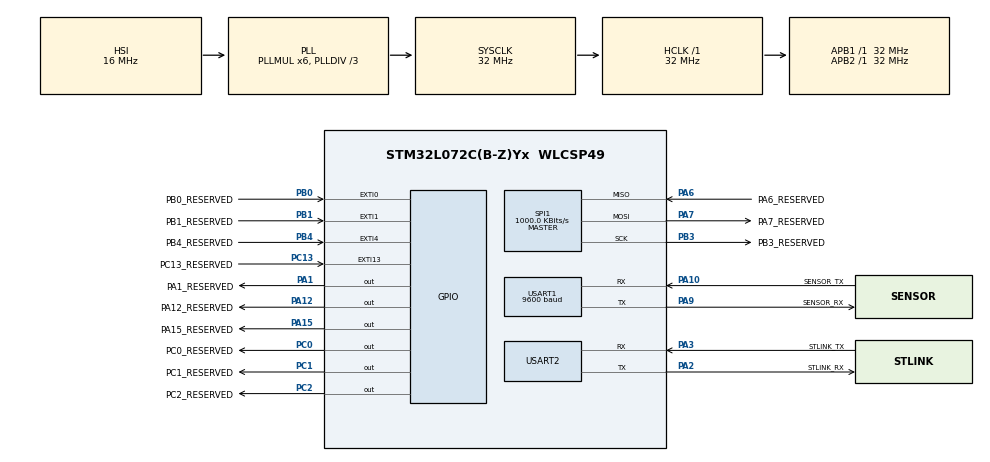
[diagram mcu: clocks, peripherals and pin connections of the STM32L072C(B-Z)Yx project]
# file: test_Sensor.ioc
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Mcu.Family=STM32L0
Mcu.Name=STM32L072C(B-Z)Yx
Mcu.Package=WLCSP49
NVIC.EXTI0_1_IRQn=true\:0\:0\:false\:false\:true\:true\:true
NVIC.EXTI4_15_IRQn=true\:0\:0\:false\:false\:true\:true\:true
NVIC.RTC_IRQn=true\:0\:0\:false\:false\:true\:true\:true
NVIC.USART1_IRQn=true\:0\:0\:true\:false\:true\:true\:true
NVIC.USART2_IRQn=true\:0\:0\:false\:false\:true\:true\:true
PA1.GPIO_Label=PA1_RESERVED
PA1.GPIO_Speed=GPIO_SPEED_FREQ_HIGH
PA1.PinState=GPIO_PIN_RESET
PA1.Signal=GPIO_Output
PA10.GPIO_Label=SENSOR_TX
PA10.Mode=Asynchronous
PA10.Signal=USART1_RX
PA12.GPIO_Label=PA12_RESERVED
PA12.GPIO_Speed=GPIO_SPEED_FREQ_HIGH
PA12.Signal=GPIO_Output
PA15.GPIO_Label=PA15_RESERVED
PA15.GPIO_Speed=GPIO_SPEED_FREQ_HIGH
PA15.Signal=GPIO_Output
PA2.GPIO_Label=STLINK_RX
PA2.Mode=Asynchronous
PA2.Signal=USART2_TX
PA3.GPIO_Label=STLINK_TX
PA3.Mode=Asynchronous
PA3.Signal=USART2_RX
PA6.GPIO_Label=PA6_RESERVED
PA6.Mode=Full_Duplex_Master
PA6.Signal=SPI1_MISO
PA7.GPIO_Label=PA7_RESERVED
PA7.Mode=Full_Duplex_Master
PA7.Signal=SPI1_MOSI
PA9.GPIO_Label=SENSOR_RX
PA9.Mode=Asynchronous
PA9.Signal=USART1_TX
PB0.GPIO_Label=PB0_RESERVED
PB0.Signal=GPXTI0
PB1.GPIO_Label=PB1_RESERVED
PB1.Signal=GPXTI1
PB3.GPIO_Label=PB3_RESERVED
PB3.Mode=Full_Duplex_Master
PB3.Signal=SPI1_SCK
PB4.GPIO_Label=PB4_RESERVED
PB4.Signal=GPXTI4
PC0.GPIO_Label=PC0_RESERVED
PC0.GPIO_Speed=GPIO_SPEED_FREQ_HIGH
PC0.Signal=GPIO_Output
PC1.GPIO_Label=PC1_RESERVED
PC1.GPIO_Speed=GPIO_SPEED_FREQ_HIGH
PC1.Signal=GPIO_Output
PC13.GPIO_Label=PC13_RESERVED
PC13.Signal=GPXTI13
PC2.GPIO_Label=PC2_RESERVED
PC2.GPIO_Speed=GPIO_SPEED_FREQ_HIGH
PC2.Signal=GPIO_Output
PH0-OSC_IN.Signal=RCC_OSC_IN
PH1-OSC_OUT.Signal=RCC_OSC_OUT
ProjectManager.HeapSize=0x200
ProjectManager.StackSize=0x400
ProjectManager.TargetToolchain=STM32CubeIDE
RCC.AHBFreq_Value=32000000
RCC.APB1Freq_Value=32000000
RCC.APB1TimFreq_Value=32000000
RCC.APB2Freq_Value=32000000
RCC.APB2TimFreq_Value=32000000
RCC.HCLKFreq_Value=32000000
RCC.HSE_VALUE=8000000
RCC.HSI16_VALUE=16000000
RCC.HSI48_VALUE=48000000
RCC.HSI_VALUE=16000000
RCC.LSE_VALUE=32768
RCC.MSI_VALUE=2097000
RCC.PLLDIV=RCC_PLLDIV_3
RCC.PLLMUL=RCC_PLLMUL_6
RCC.SYSCLKFreq_VALUE=32000000
RCC.SYSCLKSource=RCC_SYSCLKSOURCE_PLLCLK
RCC.VCOOutputFreq_Value=96000000
RTC.Alarm-Alarm\ A=RTC_ALARM_A
RTC.AlarmSubSecondMask-Alarm\ A=RTC_ALARMSUBSECONDMASK_NONE
RTC.AsynchPrediv=31
RTC.Format=RTC_FORMAT_BIN
RTC.SynchPrediv=1023
SPI1.BaudRatePrescaler=SPI_BAUDRATEPRESCALER_32
SPI1.CalculateBaudRate=1000.0 KBits/s
SPI1.Direction=SPI_DIRECTION_2LINES
SPI1.Mode=SPI_MODE_MASTER
SPI1.VirtualType=VM_MASTER
USART1.BaudRate=9600
USART1.VirtualMode-Asynchronous=VM_ASYNC
USART2.VirtualMode-Asynchronous=VM_ASYNC
VP_RTC_VS_RTC_Activate.Mode=RTC_Enabled
VP_RTC_VS_RTC_Alarm_A_Intern.Mode=Alarm A
VP_RTC_VS_RTC_Calendar.Mode=RTC_Calendar
board=B-L072Z-LRWAN1

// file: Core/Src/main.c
/* USER CODE BEGIN Header */
/**
  ******************************************************************************
  * @file           : main.c
  * @brief          : Main program body
  ******************************************************************************
  * @attention
  *
  * <h2><center>&copy; Copyright (c) 2019 STMicroelectronics.
  * All rights reserved.</center></h2>
  *
  * This software component is licensed by ST under BSD 3-Clause license,
  * the "License"; You may not use this file except in compliance with the
  * License. You may obtain a copy of the License at:
  *                        opensource.org/licenses/BSD-3-Clause
  *
  ******************************************************************************
  */
/* USER CODE END Header */

#include "main.h"

/* USER CODE BEGIN Includes */
#include <stdio.h>
#include <string.h>
/* USER CODE END Includes */

/* USER CODE BEGIN PD */
#define EN_SENSOR_DEBUG

#define SENSOR_RESP_ACK 1
#define SENSOR_RESP_NAK 2
#define SENSOR_RESP_SINGLE 3
#define SENSOR_RESP_AUTO 4
/* USER CODE END PD */

RTC_HandleTypeDef hrtc;

SPI_HandleTypeDef hspi1;

UART_HandleTypeDef huart1;
UART_HandleTypeDef huart2;

/* USER CODE BEGIN PV */
uint8_t respBuf[40];
uint16_t pm2_5 = -1;
uint16_t pm10 = -1;
uint8_t sensorResp = 0;
/* USER CODE END PV */

void SystemClock_Config(void);
static void MX_GPIO_Init(void);
static void MX_RTC_Init(void);
static void MX_SPI1_Init(void);
static void MX_USART2_UART_Init(void);
static void MX_USART1_UART_Init(void);

/* USER CODE BEGIN 0 */
void SENSOR_Start_Measuring();
void SENSOR_Stop_Measuring();
void SENSOR_Read_Measuring();
void SENSOR_Stop_Auto_Send();
void SENSOR_Enable_Auto_Send();
void HAL_UART_RxCpltCallback(UART_HandleTypeDef *huart);
/* USER CODE END 0 */

int main(void)
{

  /* MCU Configuration--------------------------------------------------------*/

  /* Reset of all peripherals, Initializes the Flash interface and the Systick. */
  HAL_Init();

  /* Configure the system clock */
  SystemClock_Config();

  /* Initialize all configured peripherals */
  MX_GPIO_Init();
  MX_RTC_Init();
  MX_SPI1_Init();
  MX_USART2_UART_Init();
  MX_USART1_UART_Init();
  /* USER CODE BEGIN 2 */

  // Init sensor
  HAL_UART_Receive_IT(&huart1, (uint8_t*)respBuf, 2);
  HAL_Delay(1500);
  while (sensorResp != SENSOR_RESP_ACK) {
	  HAL_Delay(500);
	  SENSOR_Stop_Auto_Send();
  }
  SENSOR_Read_Measuring();

  /* USER CODE END 2 */

  /* Infinite loop */
  /* USER CODE BEGIN WHILE */
  while (1)
  {
	if (__HAL_UART_GET_FLAG(&huart2, UART_FLAG_RXNE) == SET) {
		uint8_t buff[4];
		HAL_UART_Receive(&huart2, buff, 4, 500);
		HAL_UART_Transmit(&huart1, (uint8_t*)buff, 4, 500);
	}

    /* USER CODE END WHILE */

  }
}

void SystemClock_Config(void)
{
  RCC_OscInitTypeDef RCC_OscInitStruct = {0};
  RCC_ClkInitTypeDef RCC_ClkInitStruct = {0};
  RCC_PeriphCLKInitTypeDef PeriphClkInit = {0};

  /** Configure the main internal regulator output voltage
  */
  __HAL_PWR_VOLTAGESCALING_CONFIG(PWR_REGULATOR_VOLTAGE_SCALE1);
  /** Initializes the CPU, AHB and APB busses clocks
  */
  RCC_OscInitStruct.OscillatorType = RCC_OSCILLATORTYPE_HSI|RCC_OSCILLATORTYPE_LSI;
  RCC_OscInitStruct.HSIState = RCC_HSI_ON;
  RCC_OscInitStruct.HSICalibrationValue = RCC_HSICALIBRATION_DEFAULT;
  RCC_OscInitStruct.LSIState = RCC_LSI_ON;
  RCC_OscInitStruct.PLL.PLLState = RCC_PLL_ON;
  RCC_OscInitStruct.PLL.PLLSource = RCC_PLLSOURCE_HSI;
  RCC_OscInitStruct.PLL.PLLMUL = RCC_PLLMUL_6;
  RCC_OscInitStruct.PLL.PLLDIV = RCC_PLLDIV_3;
  if (HAL_RCC_OscConfig(&RCC_OscInitStruct) != HAL_OK)
  {
    Error_Handler();
  }
  /** Initializes the CPU, AHB and APB busses clocks
  */
  RCC_ClkInitStruct.ClockType = RCC_CLOCKTYPE_HCLK|RCC_CLOCKTYPE_SYSCLK
                              |RCC_CLOCKTYPE_PCLK1|RCC_CLOCKTYPE_PCLK2;
  RCC_ClkInitStruct.SYSCLKSource = RCC_SYSCLKSOURCE_PLLCLK;
  RCC_ClkInitStruct.AHBCLKDivider = RCC_SYSCLK_DIV1;
  RCC_ClkInitStruct.APB1CLKDivider = RCC_HCLK_DIV1;
  RCC_ClkInitStruct.APB2CLKDivider = RCC_HCLK_DIV1;

  if (HAL_RCC_ClockConfig(&RCC_ClkInitStruct, FLASH_LATENCY_1) != HAL_OK)
  {
    Error_Handler();
  }
  PeriphClkInit.PeriphClockSelection = RCC_PERIPHCLK_USART1|RCC_PERIPHCLK_USART2
                              |RCC_PERIPHCLK_RTC;
  PeriphClkInit.Usart1ClockSelection = RCC_USART1CLKSOURCE_PCLK2;
  PeriphClkInit.Usart2ClockSelection = RCC_USART2CLKSOURCE_PCLK1;
  PeriphClkInit.RTCClockSelection = RCC_RTCCLKSOURCE_LSI;
  if (HAL_RCCEx_PeriphCLKConfig(&PeriphClkInit) != HAL_OK)
  {
    Error_Handler();
  }
}

static void MX_RTC_Init(void)
{

  RTC_TimeTypeDef sTime = {0};
  RTC_DateTypeDef sDate = {0};
  RTC_AlarmTypeDef sAlarm = {0};

  /** Initialize RTC Only
  */
  hrtc.Instance = RTC;
  hrtc.Init.HourFormat = RTC_HOURFORMAT_24;
  hrtc.Init.AsynchPrediv = 31;
  hrtc.Init.SynchPrediv = 1023;
  hrtc.Init.OutPut = RTC_OUTPUT_DISABLE;
  hrtc.Init.OutPutRemap = RTC_OUTPUT_REMAP_NONE;
  hrtc.Init.OutPutPolarity = RTC_OUTPUT_POLARITY_HIGH;
  hrtc.Init.OutPutType = RTC_OUTPUT_TYPE_OPENDRAIN;
  if (HAL_RTC_Init(&hrtc) != HAL_OK)
  {
    Error_Handler();
  }

  /** Initialize RTC and set the Time and Date
  */
  sTime.Hours = 0;
  sTime.Minutes = 0;
  sTime.Seconds = 0;
  sTime.DayLightSaving = RTC_DAYLIGHTSAVING_NONE;
  sTime.StoreOperation = RTC_STOREOPERATION_RESET;
  if (HAL_RTC_SetTime(&hrtc, &sTime, RTC_FORMAT_BIN) != HAL_OK)
  {
    Error_Handler();
  }
  sDate.WeekDay = RTC_WEEKDAY_MONDAY;
  sDate.Month = RTC_MONTH_JANUARY;
  sDate.Date = 1;
  sDate.Year = 0;

  if (HAL_RTC_SetDate(&hrtc, &sDate, RTC_FORMAT_BIN) != HAL_OK)
  {
    Error_Handler();
  }
  /** Enable the Alarm A
  */
  sAlarm.AlarmTime.Hours = 0;
  sAlarm.AlarmTime.Minutes = 0;
  sAlarm.AlarmTime.Seconds = 0;
  sAlarm.AlarmTime.SubSeconds = 0;
  sAlarm.AlarmTime.DayLightSaving = RTC_DAYLIGHTSAVING_NONE;
  sAlarm.AlarmTime.StoreOperation = RTC_STOREOPERATION_RESET;
  sAlarm.AlarmMask = RTC_ALARMMASK_NONE;
  sAlarm.AlarmSubSecondMask = RTC_ALARMSUBSECONDMASK_NONE;
  sAlarm.AlarmDateWeekDaySel = RTC_ALARMDATEWEEKDAYSEL_DATE;
  sAlarm.AlarmDateWeekDay = 1;
  sAlarm.Alarm = RTC_ALARM_A;
  if (HAL_RTC_SetAlarm_IT(&hrtc, &sAlarm, RTC_FORMAT_BIN) != HAL_OK)
  {
    Error_Handler();
  }

}

static void MX_SPI1_Init(void)
{

  /* SPI1 parameter configuration*/
  hspi1.Instance = SPI1;
  hspi1.Init.Mode = SPI_MODE_MASTER;
  hspi1.Init.Direction = SPI_DIRECTION_2LINES;
  hspi1.Init.DataSize = SPI_DATASIZE_8BIT;
  hspi1.Init.CLKPolarity = SPI_POLARITY_LOW;
  hspi1.Init.CLKPhase = SPI_PHASE_1EDGE;
  hspi1.Init.NSS = SPI_NSS_SOFT;
  hspi1.Init.BaudRatePrescaler = SPI_BAUDRATEPRESCALER_32;
  hspi1.Init.FirstBit = SPI_FIRSTBIT_MSB;
  hspi1.Init.TIMode = SPI_TIMODE_DISABLE;
  hspi1.Init.CRCCalculation = SPI_CRCCALCULATION_DISABLE;
  hspi1.Init.CRCPolynomial = 7;
  if (HAL_SPI_Init(&hspi1) != HAL_OK)
  {
    Error_Handler();
  }

}

static void MX_USART1_UART_Init(void)
{

  huart1.Instance = USART1;
  huart1.Init.BaudRate = 9600;
  huart1.Init.WordLength = UART_WORDLENGTH_8B;
  huart1.Init.StopBits = UART_STOPBITS_1;
  huart1.Init.Parity = UART_PARITY_NONE;
  huart1.Init.Mode = UART_MODE_TX_RX;
  huart1.Init.HwFlowCtl = UART_HWCONTROL_NONE;
  huart1.Init.OverSampling = UART_OVERSAMPLING_16;
  huart1.Init.OneBitSampling = UART_ONE_BIT_SAMPLE_DISABLE;
  huart1.AdvancedInit.AdvFeatureInit = UART_ADVFEATURE_NO_INIT;
  if (HAL_UART_Init(&huart1) != HAL_OK)
  {
    Error_Handler();
  }

}

static void MX_USART2_UART_Init(void)
{

  huart2.Instance = USART2;
  huart2.Init.BaudRate = 115200;
  huart2.Init.WordLength = UART_WORDLENGTH_8B;
  huart2.Init.StopBits = UART_STOPBITS_1;
  huart2.Init.Parity = UART_PARITY_NONE;
  huart2.Init.Mode = UART_MODE_TX_RX;
  huart2.Init.HwFlowCtl = UART_HWCONTROL_NONE;
  huart2.Init.OverSampling = UART_OVERSAMPLING_16;
  huart2.Init.OneBitSampling = UART_ONE_BIT_SAMPLE_DISABLE;
  huart2.AdvancedInit.AdvFeatureInit = UART_ADVFEATURE_NO_INIT;
  if (HAL_UART_Init(&huart2) != HAL_OK)
  {
    Error_Handler();
  }

}

static void MX_GPIO_Init(void)
{
  GPIO_InitTypeDef GPIO_InitStruct = {0};

  /* GPIO Ports Clock Enable */
  __HAL_RCC_GPIOA_CLK_ENABLE();
  __HAL_RCC_GPIOB_CLK_ENABLE();
  __HAL_RCC_GPIOC_CLK_ENABLE();
  __HAL_RCC_GPIOH_CLK_ENABLE();

  /*Configure GPIO pin Output Level */
  HAL_GPIO_WritePin(GPIOA, PA15_RESERVED_Pin|PA12_RESERVED_Pin|PA1_RESERVED_Pin, GPIO_PIN_RESET);

  /*Configure GPIO pin Output Level */
  HAL_GPIO_WritePin(GPIOC, PC1_RESERVED_Pin|PC0_RESERVED_Pin|PC2_RESERVED_Pin, GPIO_PIN_RESET);

  /*Configure GPIO pins : PA15_RESERVED_Pin PA12_RESERVED_Pin PA1_RESERVED_Pin */
  GPIO_InitStruct.Pin = PA15_RESERVED_Pin|PA12_RESERVED_Pin|PA1_RESERVED_Pin;
  GPIO_InitStruct.Mode = GPIO_MODE_OUTPUT_PP;
  GPIO_InitStruct.Pull = GPIO_NOPULL;
  GPIO_InitStruct.Speed = GPIO_SPEED_FREQ_HIGH;
  HAL_GPIO_Init(GPIOA, &GPIO_InitStruct);

  /*Configure GPIO pins : PB4_RESERVED_Pin PB1_RESERVED_Pin PB0_RESERVED_Pin */
  GPIO_InitStruct.Pin = PB4_RESERVED_Pin|PB1_RESERVED_Pin|PB0_RESERVED_Pin;
  GPIO_InitStruct.Mode = GPIO_MODE_IT_RISING;
  GPIO_InitStruct.Pull = GPIO_NOPULL;
  HAL_GPIO_Init(GPIOB, &GPIO_InitStruct);

  /*Configure GPIO pin : PC13_RESERVED_Pin */
  GPIO_InitStruct.Pin = PC13_RESERVED_Pin;
  GPIO_InitStruct.Mode = GPIO_MODE_IT_RISING;
  GPIO_InitStruct.Pull = GPIO_NOPULL;
  HAL_GPIO_Init(PC13_RESERVED_GPIO_Port, &GPIO_InitStruct);

  /*Configure GPIO pins : PC1_RESERVED_Pin PC0_RESERVED_Pin PC2_RESERVED_Pin */
  GPIO_InitStruct.Pin = PC1_RESERVED_Pin|PC0_RESERVED_Pin|PC2_RESERVED_Pin;
  GPIO_InitStruct.Mode = GPIO_MODE_OUTPUT_PP;
  GPIO_InitStruct.Pull = GPIO_NOPULL;
  GPIO_InitStruct.Speed = GPIO_SPEED_FREQ_HIGH;
  HAL_GPIO_Init(GPIOC, &GPIO_InitStruct);

  /* EXTI interrupt init*/
  HAL_NVIC_SetPriority(EXTI0_1_IRQn, 0, 0);
  HAL_NVIC_EnableIRQ(EXTI0_1_IRQn);

  HAL_NVIC_SetPriority(EXTI4_15_IRQn, 0, 0);
  HAL_NVIC_EnableIRQ(EXTI4_15_IRQn);

}

/* USER CODE BEGIN 4 */

void SENSOR_Start_Measuring() {
	uint8_t buff[] = {0x68, 0x01, 0x01, 0x96};
	HAL_UART_Transmit(&huart1, buff, 4, 500);
}

void SENSOR_Stop_Measuring() {
	uint8_t buff[] = {0x68, 0x01, 0x02, 0x95};
	HAL_UART_Transmit(&huart1, buff, 4, 500);
}

void SENSOR_Read_Measuring() {
	uint8_t buff[] = {0x68, 0x01, 0x04, 0x93};
	HAL_UART_Transmit(&huart1, buff, 4, 500);
}

void SENSOR_Stop_Auto_Send() {
	uint8_t buff[] = {0x68, 0x01, 0x20, 0x77};
	HAL_UART_Transmit(&huart1, buff, 4, 500);
}

void SENSOR_Enable_Auto_Send() {
	uint8_t buff[] = {0x68, 0x01, 0x40, 0x57};
	HAL_UART_Transmit(&huart1, buff, 4, 500);
}

void HAL_UART_RxCpltCallback(UART_HandleTypeDef *huart) {
	if (huart == &huart1) {
#ifdef EN_SENSOR_DEBUG
		char printBuf[60];
		sprintf(printBuf, "SENSOR : ERROR");
#endif
		if (respBuf[0] == 0x00) {
			respBuf[0] = respBuf[1];
			HAL_UART_Receive(&huart1, &respBuf[1], 1, 4);
		}
		if (respBuf[0] == 0x40) {
#ifdef EN_SENSOR_DEBUG
			sprintf(printBuf, "SENSOR : ERROR single read");
#endif
			uint8_t len = respBuf[1];
			uint16_t calChecksum = 0;

			HAL_UART_Receive(&huart1, &respBuf[2], len + 1, 500); // get cmd, data and checksum
			for (int i = 0; i < len + 2; i++) { // with head, len and cmd ( +3 ) but not checksum ( -1 )
				calChecksum += respBuf[i];
			}
			calChecksum = (65536 - calChecksum) & 255;
			if (calChecksum == respBuf[2 + len]) {
				pm2_5 = ((uint16_t)respBuf[3] << 8) | respBuf[4];
				pm10 = ((uint16_t)respBuf[5] << 8) | respBuf[6];
#ifdef EN_SENSOR_DEBUG
				sprintf(printBuf, "SENSOR :+PM2.5 : %d PM10 : %d", pm2_5, pm10);
#endif
				sensorResp = SENSOR_RESP_SINGLE;
			}
		}
		else if (respBuf[0] == 0x42 && respBuf[1] == 0x4d) {
#ifdef EN_SENSOR_DEBUG
			sprintf(printBuf, "SENSOR : ERROR continute read");
#endif
			// Auto send
			uint8_t len;
			uint16_t calChecksum = 0;

			HAL_UART_Receive(&huart1, &respBuf[2], 2, 500); // get len

			len = ((uint16_t)respBuf[2] << 8) | respBuf[3];

			HAL_UART_Receive(&huart1, &respBuf[4], len, 500); //get data and checksum
			for (int i = 0; i < len + 2; i++) { // with head and len ( +4 ) but not checksum ( -2 )
				calChecksum += respBuf[i];
			}
			if (calChecksum == (((uint16_t)respBuf[2 + len] << 8) | respBuf[2 + len + 1])) {
				uint16_t pm2_5_temp = ((uint16_t)respBuf[6] << 8) | respBuf[7];
				uint16_t pm10_temp = ((uint16_t)respBuf[8] << 8) | respBuf[9];
				if (!(pm2_5_temp == 0 && pm10_temp == 0 && sensorResp == 0)) {
#ifdef EN_SENSOR_DEBUG
					sprintf(printBuf, "SENSOR :-PM2.5 : %d PM10 : %d", pm2_5, pm10);
#endif
					sensorResp = SENSOR_RESP_AUTO;
				}
#ifdef EN_SENSOR_DEBUG
				else
				{
					sprintf(printBuf, "SENSOR : Init value");
				}
#endif
			}
		}

		else if (respBuf[0] == 0xA5 && respBuf[1] == 0xA5) {
			// ACK
#ifdef EN_SENSOR_DEBUG
			sprintf(printBuf, "SENSOR : OK");
#endif
			sensorResp = SENSOR_RESP_ACK;
		}
		else if (respBuf[0] == 0x96 && respBuf[1] == 0x96) {
			// NAK
#ifdef EN_SENSOR_DEBUG
			sprintf(printBuf, "SENSOR : NAK");
#endif
			sensorResp = SENSOR_RESP_NAK;
		}
#ifdef EN_SENSOR_DEBUG
		HAL_UART_Transmit(&huart2, (uint8_t*)printBuf, strlen(printBuf), 500);
#endif
		HAL_UART_Receive_IT(&huart1, respBuf, 2);
	}
}
/* USER CODE END 4 */

void Error_Handler(void)
{
}

/************************ (C) COPYRIGHT STMicroelectronics *****END OF FILE****/
